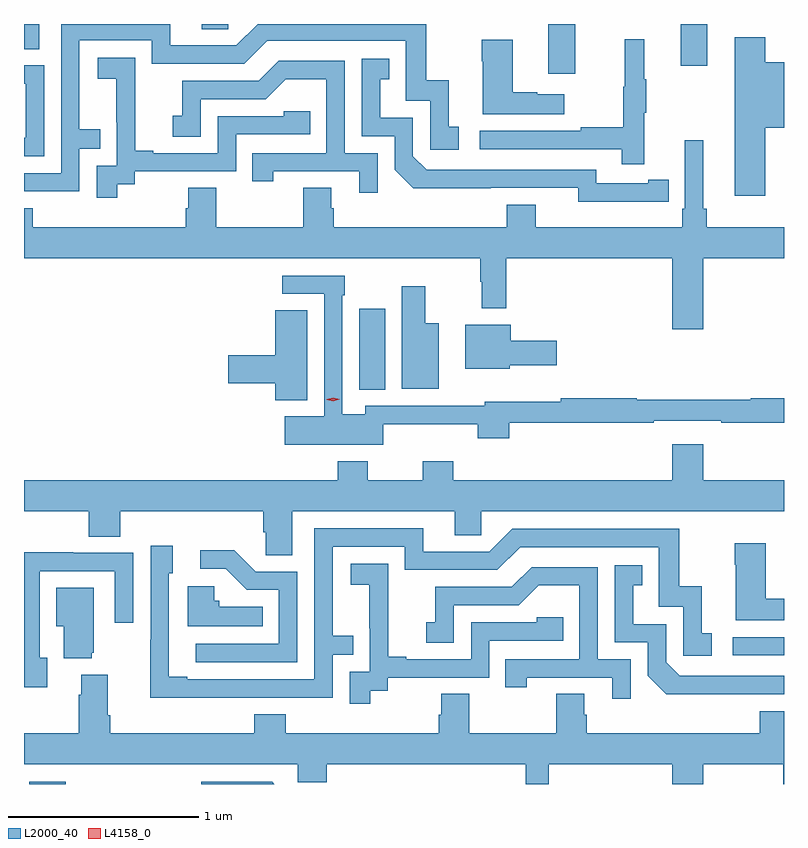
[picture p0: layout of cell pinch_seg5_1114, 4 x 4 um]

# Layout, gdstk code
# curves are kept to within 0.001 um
import gdstk
lib = gdstk.Library(unit=1e-6, precision=1e-09)
def R(c, l, rs):  # rectangles x0, y0, x1, y1
    for r in rs: c.add(gdstk.rectangle(r[:2], r[2:], *l))
def P(c, l, *ps):  # polygons
    for p in ps: c.add(gdstk.Polygon(p, *l))
L2000_40 = (2000, 40)
L4158_0 = (4158, 0)

pinch_seg5_1114 = lib.new_cell('pinch_seg5_1114')
R(pinch_seg5_1114, L2000_40, [(773.013,847.333,773.205,847.344), (776.715,848.01,776.985,848.106), (774.749,849.409,774.886,849.835), (775.745,851.07,775.885,851.333), (776.441,851.112,776.581,851.333), (772.985,851.2,773.065,851.333), (773.921,851.305,774.06,851.333)])
P(pinch_seg5_1114, L2000_40, [(773.277,850.677),(773.387,850.677),(773.387,850.778),(773.277,850.778),(773.277,851.247),(773.658,851.247),(773.658,851.124),(774.144,851.124),(774.264,851.244),(774.993,851.244),(774.993,850.929),(775.122,850.929),(775.122,850.671),(775.273,850.671),(775.273,850.791),(775.22,850.791),(775.22,851.038),(775.102,851.038),(775.102,851.333),(774.215,851.333),(774.102,851.22),(773.755,851.22),(773.755,851.333),(773.181,851.333),(773.181,850.548),(772.985,850.548),(772.985,850.452),(773.277,850.452)],
  [(776.885,850.787),(776.985,850.787),(776.985,851.131),(776.885,851.131),(776.885,851.263),(776.726,851.263),(776.726,850.428),(776.885,850.428)],
  [(776.249,850.867),(776.26,850.867),(776.26,851.041),(776.249,851.041),(776.249,851.254),(776.146,851.254),(776.146,851.004),(776.139,851.004),(776.139,850.79),(775.915,850.79),(775.915,850.77),(775.383,850.77),(775.383,850.674),(776.131,850.674),(776.131,850.596),(776.249,850.596)],
  [(775.828,850.963),(775.685,850.963),(775.685,850.973),(775.558,850.973),(775.558,851.251),(775.393,851.251),(775.393,851.138),(775.4,851.138),(775.4,850.859),(775.828,850.859)],
  [(773.476,850.489),(773.568,850.489),(773.568,850.557),(774.102,850.557),(774.102,850.752),(774.491,850.752),(774.491,850.875),(774.351,850.875),(774.351,850.848),(774.006,850.848),(774.006,850.653),(773.665,850.653),(773.665,850.666),(773.57,850.666),(773.57,850.949),(773.571,850.949),(773.571,851.155),(773.373,851.155),(773.373,851.045),(773.471,851.045),(773.471,850.817),(773.472,850.817),(773.472,850.587),(773.367,850.587),(773.367,850.419),(773.476,850.419)],
  [(776.27,850.398),(776.378,850.398),(776.378,850.514),(776.27,850.514),(776.27,850.494),(775.998,850.494),(775.998,850.566),(775.104,850.566),(775.032,850.638),(775.032,850.839),(774.859,850.839),(774.859,851.043),(774.908,851.043),(774.908,851.149),(774.762,851.149),(774.762,850.743),(774.936,850.743),(774.936,850.566),(775.034,850.469),(775.902,850.47),(775.902,850.397)],
  [(774.846,850.653),(774.672,850.653),(774.672,851.139),(774.326,851.139),(774.221,851.034),(773.818,851.034),(773.818,850.849),(773.769,850.849),(773.769,850.74),(773.916,850.74),(773.916,850.938),(774.258,850.938),(774.362,851.042),(774.576,851.042),(774.576,850.653),(774.187,850.653),(774.187,850.506),(774.298,850.506),(774.298,850.557),(774.749,850.557),(774.749,850.446),(774.846,850.446)],
  [(773.091,851.115),(772.985,851.115),(772.985,851.019),(772.995,851.019),(772.995,850.734),(772.985,850.734),(772.985,850.638),(773.091,850.638)],
  [(776.56,850.1),(776.985,850.1),(776.985,850.264),(776.579,850.264),(776.579,850.36),(776.56,850.36),(776.56,850.72),(776.463,850.72),(776.463,850.36),(776.45,850.36),(776.45,850.264),(775.678,850.264),(775.678,850.381),(775.526,850.381),(775.526,850.264),(774.614,850.264),(774.614,850.362),(774.601,850.362),(774.601,850.472),(774.454,850.472),(774.454,850.264),(773.997,850.264),(773.997,850.472),(773.849,850.472),(773.849,850.362),(773.837,850.362),(773.837,850.264),(773.03,850.264),(773.03,850.363),(772.985,850.363),(772.985,850.1),(775.387,850.1),(775.387,849.977),(775.395,849.977),(775.395,849.837),(775.523,849.837),(775.523,850.1),(776.396,850.1),(776.396,849.726),(776.56,849.726)],
  [(774.876,849.227),(775.373,849.227),(775.373,849.152),(775.538,849.152),(775.538,849.234),(776.3,849.234),(776.3,849.246),(776.656,849.246),(776.656,849.234),(776.985,849.234),(776.985,849.362),(776.81,849.362),(776.81,849.355),(776.21,849.355),(776.21,849.362),(775.81,849.362),(775.81,849.344),(775.41,849.344),(775.41,849.324),(774.78,849.324),(774.78,849.28),(774.66,849.28),(774.66,849.905),(774.673,849.905),(774.673,850.008),(774.345,850.008),(774.345,849.912),(774.564,849.912),(774.564,849.268),(774.357,849.268),(774.357,849.119),(774.876,849.119)],
  [(775.168,849.757),(775.096,849.757),(775.096,849.952),(774.974,849.952),(774.974,849.413),(775.168,849.413)],
  [(774.475,849.827),(774.308,849.827),(774.308,849.59),(774.06,849.59),(774.06,849.443),(774.308,849.443),(774.308,849.353),(774.475,849.353)],
  [(775.542,849.536),(775.789,849.536),(775.789,849.666),(775.546,849.666),(775.546,849.751),(775.307,849.751),(775.307,849.518),(775.542,849.518)],
  [(772.985,848.768),(773.327,848.768),(773.327,848.635),(773.492,848.635),(773.492,848.768),(774.245,848.768),(774.245,848.659),(774.258,848.659),(774.258,848.536),(774.397,848.536),(774.397,848.768),(775.253,848.768),(775.253,848.641),(775.392,848.641),(775.392,848.768),(776.985,848.768),(776.985,848.932),(776.56,848.932),(776.56,849.121),(776.396,849.121),(776.396,848.932),(775.244,848.932),(775.244,849.031),(775.084,849.031),(775.084,848.932),(774.795,848.932),(774.795,849.031),(774.635,849.031),(774.635,848.932),(772.985,848.932)],
  [(774.113,847.788),(774.609,847.788),(774.609,848.013),(774.719,848.013),(774.719,848.114),(774.609,848.114),(774.609,848.583),(774.99,848.583),(774.99,848.46),(775.476,848.46),(775.596,848.58),(776.325,848.58),(776.325,848.265),(776.454,848.265),(776.454,848.007),(776.605,848.007),(776.605,848.127),(776.552,848.127),(776.552,848.374),(776.434,848.374),(776.434,848.676),(775.554,848.676),(775.434,848.556),(775.087,848.556),(775.087,848.679),(774.513,848.679),(774.513,847.884),(773.845,847.884),(773.845,847.897),(773.748,847.897),(773.748,848.442),(773.767,848.442),(773.767,848.587),(773.652,848.587),(773.652,848.093),(773.65,848.093),(773.65,847.787)],
  [(776.985,848.309),(776.89,848.309),(776.89,848.599),(776.725,848.599),(776.725,848.486),(776.732,848.486),(776.732,848.195),(776.985,848.195)],
  [(774.423,848.451),(774.204,848.451),(774.091,848.564),(773.913,848.564),(773.913,848.466),(774.047,848.466),(774.158,848.355),(774.327,848.355),(774.327,848.07),(773.889,848.07),(773.889,847.974),(774.423,847.974)],
  [(773.107,847.998),(773.067,847.998),(773.067,848.454),(773.463,848.454),(773.463,848.181),(773.559,848.181),(773.559,848.55),(773.243,848.55),(773.243,848.552),(772.985,848.552),(772.985,847.842),(773.107,847.842)],
  [(774.808,847.825),(774.9,847.825),(774.9,847.893),(775.434,847.893),(775.434,848.088),(775.823,848.088),(775.823,848.211),(775.683,848.211),(775.683,848.184),(775.338,848.184),(775.338,847.989),(774.997,847.989),(774.997,848.002),(774.902,848.002),(774.902,848.285),(774.903,848.285),(774.903,848.491),(774.705,848.491),(774.705,848.381),(774.803,848.381),(774.803,848.153),(774.804,848.153),(774.804,847.923),(774.699,847.923),(774.699,847.755),(774.808,847.755)],
  [(776.774,847.806),(776.985,847.806),(776.985,847.902),(776.436,847.902),(776.364,847.974),(776.364,848.175),(776.191,848.175),(776.191,848.379),(776.24,848.379),(776.24,848.485),(776.094,848.485),(776.094,848.079),(776.268,848.079),(776.268,847.902),(776.366,847.805)],
  [(776.178,847.989),(776.004,847.989),(776.004,848.475),(775.658,848.475),(775.553,848.37),(775.15,848.37),(775.15,848.185),(775.101,848.185),(775.101,848.076),(775.248,848.076),(775.248,848.274),(775.59,848.274),(775.694,848.378),(775.908,848.378),(775.908,847.989),(775.519,847.989),(775.519,847.842),(775.63,847.842),(775.63,847.893),(776.081,847.893),(776.081,847.782),(776.178,847.782)],
  [(774.242,848.266),(774.012,848.266),(774.012,848.298),(773.985,848.298),(773.985,848.374),(773.846,848.374),(773.846,848.162),(774.242,848.162)],
  [(773.342,848.025),(773.353,848.025),(773.353,848.365),(773.156,848.365),(773.156,848.162),(773.195,848.162),(773.195,847.994),(773.342,847.994)],
  [(775.747,847.436),(776.396,847.436),(776.396,847.333),(776.56,847.333),(776.56,847.436),(776.98,847.436),(776.98,847.333),(776.985,847.333),(776.985,847.717),(776.858,847.717),(776.858,847.6),(775.946,847.6),(775.946,847.698),(775.933,847.698),(775.933,847.808),(775.786,847.808),(775.786,847.6),(775.329,847.6),(775.329,847.808),(775.181,847.808),(775.181,847.698),(775.169,847.698),(775.169,847.6),(774.362,847.6),(774.362,847.699),(774.197,847.699),(774.197,847.6),(773.438,847.6),(773.438,847.696),(773.425,847.696),(773.425,847.909),(773.285,847.909),(773.285,847.802),(773.273,847.802),(773.273,847.6),(772.985,847.6),(772.985,847.436),(774.426,847.436),(774.426,847.341),(774.578,847.341),(774.578,847.436),(775.625,847.436),(775.625,847.333),(775.747,847.333)],
  [(774.292,847.344),(773.919,847.344),(773.919,847.333),(774.303,847.333)])
P(pinch_seg5_1114, L4158_0, [(774.613,849.347),(774.578,849.356),(774.578,849.356),(774.578,849.357),(774.612,849.367),(774.647,849.358),(774.648,849.358),(774.647,849.358)])

lib.write_gds('pinch_seg5_1114.gds')
